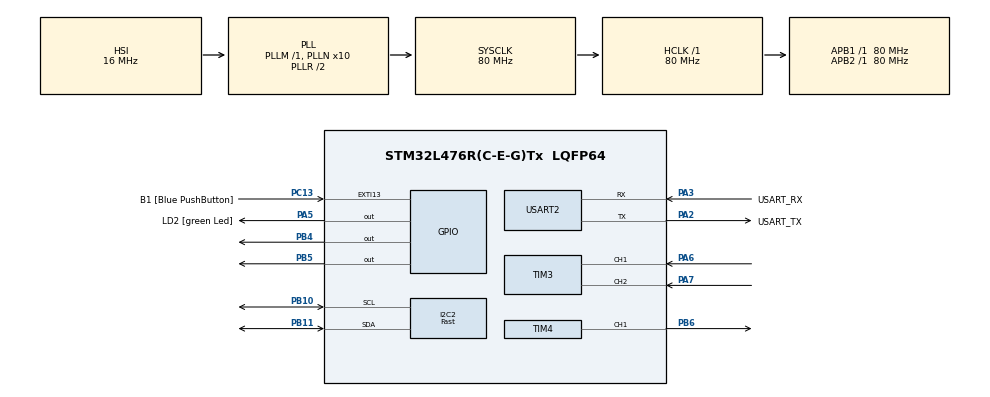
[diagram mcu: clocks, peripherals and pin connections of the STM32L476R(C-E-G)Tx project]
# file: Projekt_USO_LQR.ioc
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I2C2.I2C_Speed_Mode=I2C_Fast
I2C2.Timing=0x00F12981
Mcu.Family=STM32L4
Mcu.Name=STM32L476R(C-E-G)Tx
Mcu.Package=LQFP64
NVIC.PriorityGroup=NVIC_PRIORITYGROUP_4
NVIC.TIM2_IRQn=true\:0\:0\:false\:false\:true\:true\:true\:true
PA13\ (JTMS-SWDIO).GPIO_Label=TMS
PA13\ (JTMS-SWDIO).Mode=Serial_Wire
PA13\ (JTMS-SWDIO).Signal=SYS_JTMS-SWDIO
PA14\ (JTCK-SWCLK).GPIO_Label=TCK
PA14\ (JTCK-SWCLK).Mode=Serial_Wire
PA14\ (JTCK-SWCLK).Signal=SYS_JTCK-SWCLK
PA2.GPIO_Label=USART_TX
PA2.GPIO_Mode=GPIO_MODE_AF_PP
PA2.GPIO_PuPd=GPIO_NOPULL
PA2.GPIO_Speed=GPIO_SPEED_FREQ_VERY_HIGH
PA2.Mode=Asynchronous
PA2.Signal=USART2_TX
PA3.GPIO_Label=USART_RX
PA3.GPIO_Mode=GPIO_MODE_AF_PP
PA3.GPIO_PuPd=GPIO_NOPULL
PA3.GPIO_Speed=GPIO_SPEED_FREQ_VERY_HIGH
PA3.Mode=Asynchronous
PA3.Signal=USART2_RX
PA5.GPIO_Label=LD2 [green Led]
PA5.GPIO_ModeDefaultOutputPP=GPIO_MODE_OUTPUT_PP
PA5.GPIO_PuPd=GPIO_NOPULL
PA5.GPIO_Speed=GPIO_SPEED_FREQ_LOW
PA5.Signal=GPIO_Output
PA6.Signal=S_TIM3_CH1
PA7.Signal=S_TIM3_CH2
PB10.Mode=I2C
PB10.Signal=I2C2_SCL
PB11.Mode=I2C
PB11.Signal=I2C2_SDA
PB3\ (JTDO-TRACESWO).GPIO_Label=SWO
PB3\ (JTDO-TRACESWO).Signal=SYS_JTDO-SWO
PB4\ (NJTRST).Signal=GPIO_Output
PB5.Signal=GPIO_Output
PB6.Signal=S_TIM4_CH1
PC13.GPIO_Label=B1 [Blue PushButton]
PC13.GPIO_ModeDefaultEXTI=GPIO_MODE_IT_FALLING
PC13.GPIO_PuPd=GPIO_NOPULL
PC13.Signal=GPXTI13
PC14-OSC32_IN\ (PC14).Mode=LSE-External-Oscillator
PC14-OSC32_IN\ (PC14).Signal=RCC_OSC32_IN
PC15-OSC32_OUT\ (PC15).Mode=LSE-External-Oscillator
PC15-OSC32_OUT\ (PC15).Signal=RCC_OSC32_OUT
PH0-OSC_IN\ (PH0).Signal=RCC_OSC_IN
PH1-OSC_OUT\ (PH1).Signal=RCC_OSC_OUT
ProjectManager.HeapSize=0x200
ProjectManager.StackSize=0x400
ProjectManager.TargetToolchain=STM32CubeIDE
RCC.ADCFreq_Value=64000000
RCC.AHBFreq_Value=80000000
RCC.APB1Freq_Value=80000000
RCC.APB1TimFreq_Value=80000000
RCC.APB2Freq_Value=80000000
RCC.APB2TimFreq_Value=80000000
RCC.CortexFreq_Value=80000000
RCC.HCLKFreq_Value=80000000
RCC.HSE_VALUE=8000000
RCC.HSI_VALUE=16000000
RCC.MSI_VALUE=4000000
RCC.PLLN=10
RCC.PLLSourceVirtual=RCC_PLLSOURCE_HSI
RCC.PREFETCH_ENABLE=1
RCC.SYSCLKFreq_VALUE=80000000
RCC.SYSCLKSource=RCC_SYSCLKSOURCE_PLLCLK
RCC.USBFreq_Value=64000000
RCC.VCOOutputFreq_Value=160000000
SH.S_TIM3_CH1.0=TIM3_CH1,Encoder_Interface
SH.S_TIM3_CH2.0=TIM3_CH2,Encoder_Interface
SH.S_TIM4_CH1.0=TIM4_CH1,PWM Generation1 CH1
TIM2.Period=999
TIM2.Prescaler=79
TIM3.IC2Filter=10
TIM4.AutoReloadPreload=TIM_AUTORELOAD_PRELOAD_ENABLE
TIM4.Channel-PWM\ Generation1\ CH1=TIM_CHANNEL_1
TIM4.Period=3999
TIM4.Prescaler=0
USART2.VirtualMode-Asynchronous=VM_ASYNC
VP_TIM2_VS_ClockSourceINT.Mode=Internal
VP_TIM4_VS_ClockSourceINT.Mode=Internal
board=NUCLEO-L476RG

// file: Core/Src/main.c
/* USER CODE BEGIN Header */
/**
  ******************************************************************************
  * @file           : main.c
  * @brief          : Main program body
  ******************************************************************************
  * @attention
  *
  * Copyright (c) 2026 STMicroelectronics.
  * All rights reserved.
  *
  * This software is licensed under terms that can be found in the LICENSE file
  * in the root directory of this software component.
  * If no LICENSE file comes with this software, it is provided AS-IS.
  *
  ******************************************************************************
  */
/* USER CODE END Header */
#include "main.h"
#include "i2c.h"
#include "tim.h"
#include "usart.h"
#include "gpio.h"

/* USER CODE BEGIN Includes */
#include <stdio.h>
#include <math.h>
#include <string.h> // Potrzebne do memcpy

/* USER CODE END Includes */

/* USER CODE BEGIN PV */
#define INA237_REG_CONFIG         0x00
#define INA237_REG_ADC_CONFIG     0x01
#define INA237_REG_SHUNT_CAL      0x02
#define INA237_REG_VSHUNT         0x04
#define INA237_REG_VBUS           0x05
#define INA237_REG_DIETEMP        0x06
#define INA237_REG_CURRENT        0x07
#define INA237_REG_POWER          0x08
#define INA237_REG_MANUFACTURER   0x3E

#define SHUNT_RESISTOR_OHM        0.015f
#define INA237_CURRENT_LSB        0.000080f
#define INA237_VOLTAGE_LSB        0.003125f

#define INA237_CAL_VALUE          0x03D7
#define INA237_ADC_CONFIG_VAL   0xB901
#define INA237_CONFIG_HIGH_PRECISION 0x0010

#define INA237_ADDR (0x40 << 1)
#define BUFFER_SIZE 4000
#define SAMPLING_FREQ 1000.0f

volatile float dbg_current_A = 0.0f;
volatile float dbg_position = 0.0;
volatile float dbg_velocity = 0.0;
volatile float dbg_torque = 0.0f;
volatile float dbg_u = 0.0f;
volatile float dbg_velocity_encoder = 0.0f;

float prev_pos = 0.0f;

volatile uint16_t prev_encoder_cnt = 0;

#define INA237_VSHUNT_LSB_V     0.0000025f

float R[2] = {
	3e-6f,
	 0.05f
};

float Q_diagonal[3] = {
    1e-6f,   // pozycja
    2e-2f,   // prędkość
    2e-2f    // prąd
};

float CPR = 3840.0f;
volatile float current_A = 0.0f;
#define INA237_CURRENT_LSB  0.000080f
#define INA237_ADDR         (0x40 << 1)
#define INA237_REG_CURRENT  0x07
volatile uint8_t timer_flag = 0; // Flaga do synchronizacji pętli main
volatile float current_live_A = 0.0f;
volatile float position_rad = 0.0f;
volatile float dbg_position_Kalman = 0.0f;
volatile float dbg_current_A_Kalman = 0.0f;
float pos = 0.0f;

float u = 0.0f;

float A[3][3] = {
    {1.00000000f, 0.00099769f, 0.00001130f},
    {0.00000000f, 0.99515247f, 0.02090289f},
    {0.00000000f, -0.05170580f, 0.61609530f},
};

// Macierz B_discrete [3x1]
float B[3][1] = {
    {0.00000065f},
    {0.00188346f},
    {0.13212621f},
};

#define CONTROL_PROFILE_COMFORT  0
#define CONTROL_PROFILE_SPORT    1

#define CONTROL_PROFILE CONTROL_PROFILE_SPORT

#if CONTROL_PROFILE == CONTROL_PROFILE_COMFORT

float F[3] = {4.87455066f, 0.48550506f, 4.66944218f};
float N_bar = 4.87455066f;

#elif CONTROL_PROFILE == CONTROL_PROFILE_SPORT

float F[3] = {194.89216201f, 0.18402404f, 1.21252480f};
float N_bar = 194.89216201f;

#else
#error "Nieznany CONTROL_PROFILE"
#endif

volatile float dbg_current = 0.0f;

/* USER CODE END PV */

void SystemClock_Config(void);

/* USER CODE BEGIN 0 */

int _write(int file, char *ptr, int len) {
  HAL_UART_Transmit(&huart2, (uint8_t*)ptr, len, HAL_MAX_DELAY);
  return len;
}

float Read_Current_INA237(void) {
    uint8_t i2c_buff[2];
    int16_t raw_vshunt;
    float voltage_v;

    if (HAL_I2C_Mem_Read(&hi2c2, INA237_ADDR, INA237_REG_VSHUNT, I2C_MEMADD_SIZE_8BIT, i2c_buff, 2, 10) == HAL_OK) {
        raw_vshunt = (int16_t)((i2c_buff[0] << 8) | i2c_buff[1]);
        voltage_v = (float)raw_vshunt * INA237_VSHUNT_LSB_V;
        current_A = voltage_v / SHUNT_RESISTOR_OHM;
    }
    else {
        printf("I2C ERROR\r\n");
    }
    return current_A;
}

float Read_Position(void)
{
    static int32_t total_ticks = 0;
    static uint16_t prev_counter = 0;

    if (prev_counter == 0) prev_counter = __HAL_TIM_GET_COUNTER(&htim3);

    uint16_t current_counter = __HAL_TIM_GET_COUNTER(&htim3);

    int16_t delta = (int16_t)(current_counter - prev_counter);

    total_ticks += delta;
    prev_counter = current_counter;
    return ((float)total_ticks / CPR) * 6.2831853f;
}

float *KalmanFilter_Update(float A[3][3],
                           float B[3],
                           const float R[2],
                           float Q[3],       // Q jest wektorem diagonalnym
                           float i_meas,
                           float theta_meas)
{
    // Zmienne stanu i kowariancji (zachowane między wywołaniami)
    static float x[3] = {0.0f, 0.0f, 0.0f};
    static float P[3][3] = {
        {0.01f, 0.0f,  0.0f},
        {0.0f,  1.0f,  0.0f},
        {0.0f,  0.0f,  0.1f}
    };

    // Zmienne pomocnicze
    float x_pred[3];
    float P_pred[3][3];
    extern float u; // Napięcie sterujące

    float effective_u = u;

    if (fabsf(u) < 0.15f) {
        effective_u = 0.0f;
    }

    /* =====================================================
     * 1. PREDYKCJA STANU
     * x_pred = A * x + B * u
     * ===================================================== */
    for (int i = 0; i < 3; i++) {
        x_pred[i] = B[i] * effective_u;
        for (int j = 0; j < 3; j++) {
            x_pred[i] += A[i][j] * x[j];
        }
    }

    if (x_pred[1]> 3.80){
    	x_pred[1] = 3.80;
    }

    else if (x_pred[1] < -4.09)
    	x_pred[1] = -4.09;

    /* =====================================================
     * 2. PREDYKCJA KOWARIANCJI
     * P_pred = A * P * A^T + Q
     * ===================================================== */
    // Krok 2a: tmp = A * P
    float tmp[3][3] = {0};
    for (int i = 0; i < 3; i++) {
        for (int j = 0; j < 3; j++) {
            for (int k = 0; k < 3; k++) {
                tmp[i][j] += A[i][k] * P[k][j];
            }
        }
    }

    // Krok 2b: P_pred = tmp * A^T + Q
    for (int i = 0; i < 3; i++) {
        for (int j = 0; j < 3; j++) {
            P_pred[i][j] = 0.0f;
            for (int k = 0; k < 3; k++) {
                // A^T[k][j] to to samo co A[j][k]
                P_pred[i][j] += tmp[i][k] * A[j][k];
            }
        }
        // Dodanie szumu procesu Q (tylko na przekątnej)
        P_pred[i][i] += Q[i];
    }

    /* =====================================================
     * 3. INNOWACJA (RESIDUALS)
     * y = z - H * x_pred
     * H = [[1, 0, 0], [0, 0, 1]] (Pomiar: Pozycja, Prąd)
     * ===================================================== */
    float y[2];
    y[0] = theta_meas - x_pred[0]; // Pozycja (indeks 0)
    y[1] = i_meas     - x_pred[2]; // Prąd (indeks 2)

    /* =====================================================
     * 4. MACIERZ INNOWACJI S (2x2)
     * S = H * P_pred * H^T + R
     * ===================================================== */
    float S[2][2];
    // Wyciągamy odpowiednie elementy z P_pred zgodnie z macierzą H
    S[0][0] = P_pred[0][0] + R[0];
    S[0][1] = P_pred[0][2];
    S[1][0] = P_pred[2][0];
    S[1][1] = P_pred[2][2] + R[1];

    /* =====================================================
     * 5. INWERSJA MACIERZY S (S^-1)
     * ===================================================== */
    float det = S[0][0] * S[1][1] - S[0][1] * S[1][0];
    float invS[2][2];

    // Zabezpieczenie przed dzieleniem przez zero
    if (fabsf(det) < 1e-9f) det = 1e-9f;
    float invDet = 1.0f / det;

    invS[0][0] =  S[1][1] * invDet;
    invS[0][1] = -S[0][1] * invDet;
    invS[1][0] = -S[1][0] * invDet;
    invS[1][1] =  S[0][0] * invDet;

    /* =====================================================
     * 6. WZMOCNIENIE KALMANA K (3x2)
     * K = P_pred * H^T * S^-1
     * ===================================================== */
    // P_pred * H^T to po prostu kolumny 0 i 2 z macierzy P_pred
    float PHt[3][2];
    for(int i=0; i<3; i++) {
        PHt[i][0] = P_pred[i][0];
        PHt[i][1] = P_pred[i][2];
    }

    float K[3][2];
    for(int i=0; i<3; i++) {
        K[i][0] = PHt[i][0]*invS[0][0] + PHt[i][1]*invS[1][0];
        K[i][1] = PHt[i][0]*invS[0][1] + PHt[i][1]*invS[1][1];
    }

    /* =====================================================
     * 7. KOREKCJA STANU
     * x = x_pred + K * y
     * ===================================================== */
    for (int i = 0; i < 3; i++) {
        x[i] = x_pred[i] + K[i][0] * y[0] + K[i][1] * y[1];
    }

    /* =====================================================
     * 8. KOREKCJA KOWARIANCJI
     * P = P_pred - K * S * K^T
     * (Jest to stabilniejsza numerycznie forma niż (I-KH)P)
     * ===================================================== */
    // Najpierw: KS = K * S
    float KS[3][2];
    for(int i=0; i<3; i++) {
        KS[i][0] = K[i][0]*S[0][0] + K[i][1]*S[1][0];
        KS[i][1] = K[i][0]*S[0][1] + K[i][1]*S[1][1];
    }

    // Teraz: P = P_pred - KS * K^T
    for(int i=0; i<3; i++) {
        for(int j=0; j<3; j++) {
            // K^T[k][j] to K[j][k]
            float val = KS[i][0]*K[j][0] + KS[i][1]*K[j][1];
            P[i][j] = P_pred[i][j] - val;
        }
    }

    return x;
}

float Read_SetPoint(void)
{
    return 3.14f / 2.0f;
}

float IIR_Filter(float x)
{
    const float b0 = 0.02008337f;
    const float b1 = 0.04016673f;
    const float b2 = 0.02008337f;
    const float a1 = -1.56101808f;
    const float a2 =  0.64135154f;

    static float x1 = 0.0f, x2 = 0.0f;
    static float y1 = 0.0f, y2 = 0.0f;

    float y = b0*x + b1*x1 + b2*x2
            - a1*y1 - a2*y2;

    x2 = x1;  x1 = x;
    y2 = y1;  y1 = y;

    return y;
}

void HAL_TIM_PeriodElapsedCallback(TIM_HandleTypeDef *htim)
{
    if (htim->Instance == TIM2) {
        timer_flag = 1;
    }
}

void print_float(char* label, float val, char* unit) {
    int i_part = (int)val;
    int f_part = (int)((fabs(val) - abs(i_part)) * 10000);
    printf("%s %d.%04d %s\r\n", label, i_part, f_part, unit);
}
/* USER CODE END 0 */

int main(void)
{

  /* MCU Configuration--------------------------------------------------------*/

  /* Reset of all peripherals, Initializes the Flash interface and the Systick. */
  HAL_Init();

  /* Configure the system clock */
  SystemClock_Config();

  /* Initialize all configured peripherals */
  MX_GPIO_Init();
  MX_USART2_UART_Init();
  MX_I2C2_Init();
  MX_TIM3_Init();
  MX_TIM4_Init();
  MX_TIM2_Init();
  /* USER CODE BEGIN 2 */

  HAL_Delay(100);
    printf("\r\n=== SYSTEM START ===\r\n");

    uint8_t i2c_data[2];

    uint16_t cfg_reg = INA237_CONFIG_HIGH_PRECISION;
    i2c_data[0] = (cfg_reg >> 8) & 0xFF;
    i2c_data[1] = cfg_reg & 0xFF;
    HAL_I2C_Mem_Write(&hi2c2, INA237_ADDR, INA237_REG_CONFIG, I2C_MEMADD_SIZE_8BIT, i2c_data, 2, 100);

    uint16_t cal = INA237_CAL_VALUE;
    i2c_data[0] = (cal >> 8) & 0xFF;
    i2c_data[1] = cal & 0xFF;
    HAL_I2C_Mem_Write(&hi2c2, INA237_ADDR, INA237_REG_SHUNT_CAL, I2C_MEMADD_SIZE_8BIT, i2c_data, 2, 100);

    uint16_t adc_cfg = INA237_ADC_CONFIG_VAL;
    i2c_data[0] = (adc_cfg >> 8) & 0xFF;
    i2c_data[1] = adc_cfg & 0xFF;
    HAL_I2C_Mem_Write(&hi2c2, INA237_ADDR, INA237_REG_ADC_CONFIG, I2C_MEMADD_SIZE_8BIT, i2c_data, 2, 100);

    HAL_TIM_PWM_Start(&htim4, TIM_CHANNEL_1);
    HAL_TIM_Base_Start_IT(&htim2);
    HAL_TIM_Encoder_Start(&htim3, TIM_CHANNEL_ALL);

  /* USER CODE END 2 */

  /* Infinite loop */
  /* USER CODE BEGIN WHILE */
  while (1)
  {
	  if (timer_flag) {
	          timer_flag = 0;

	          float i_meas = Read_Current_INA237();
	          float theta_meas = Read_Position();

	          float *x = KalmanFilter_Update(A, B, R, Q_diagonal, i_meas, theta_meas);

	          dbg_position_Kalman = x[0];
	          dbg_velocity = x[1];
	          dbg_current_A_Kalman = x[2];

	          dbg_position = theta_meas ;
	          dbg_current = i_meas ;

	          pos = (dbg_position - prev_pos)/0.001;
	          dbg_velocity_encoder = IIR_Filter(pos);
	          prev_pos = dbg_position ;

	          float xd = 6.28f;

	          if (fabsf(xd - x[0]) < 0.01f && fabsf(x[1]) < 0.1f) {
	              u = 0.0f;
	          }
			  else{

				  u = -(F[0] * x[0] + F[1] * x[1] + F[2] * x[2]) + (xd * N_bar);

	              }

	          if (u > 3.3f) u = 3.3f;
	          if (u < -3.3f) u = -3.3f;

	          if (u > 0.0f) {
	              HAL_GPIO_WritePin(GPIOB, GPIO_PIN_4, GPIO_PIN_RESET);
	              HAL_GPIO_WritePin(GPIOB, GPIO_PIN_5, GPIO_PIN_SET);
	          } else {
	              HAL_GPIO_WritePin(GPIOB, GPIO_PIN_4, GPIO_PIN_SET);
	              HAL_GPIO_WritePin(GPIOB, GPIO_PIN_5, GPIO_PIN_RESET);
	              u = -u;
	          }
	          dbg_u = u;
	          uint32_t max_pwm = __HAL_TIM_GET_AUTORELOAD(&htim4);
	          uint32_t u_pwm = (uint32_t)((u / 3.3f) * max_pwm);
	          __HAL_TIM_SET_COMPARE(&htim4, TIM_CHANNEL_1, u_pwm);
	      }

    /* USER CODE END WHILE */

  }
}

void SystemClock_Config(void)
{
  RCC_OscInitTypeDef RCC_OscInitStruct = {0};
  RCC_ClkInitTypeDef RCC_ClkInitStruct = {0};

  /** Configure the main internal regulator output voltage
  */
  if (HAL_PWREx_ControlVoltageScaling(PWR_REGULATOR_VOLTAGE_SCALE1) != HAL_OK)
  {
    Error_Handler();
  }

  /** Initializes the RCC Oscillators according to the specified parameters
  * in the RCC_OscInitTypeDef structure.
  */
  RCC_OscInitStruct.OscillatorType = RCC_OSCILLATORTYPE_HSI;
  RCC_OscInitStruct.HSIState = RCC_HSI_ON;
  RCC_OscInitStruct.HSICalibrationValue = RCC_HSICALIBRATION_DEFAULT;
  RCC_OscInitStruct.PLL.PLLState = RCC_PLL_ON;
  RCC_OscInitStruct.PLL.PLLSource = RCC_PLLSOURCE_HSI;
  RCC_OscInitStruct.PLL.PLLM = 1;
  RCC_OscInitStruct.PLL.PLLN = 10;
  RCC_OscInitStruct.PLL.PLLP = RCC_PLLP_DIV7;
  RCC_OscInitStruct.PLL.PLLQ = RCC_PLLQ_DIV2;
  RCC_OscInitStruct.PLL.PLLR = RCC_PLLR_DIV2;
  if (HAL_RCC_OscConfig(&RCC_OscInitStruct) != HAL_OK)
  {
    Error_Handler();
  }

  /** Initializes the CPU, AHB and APB buses clocks
  */
  RCC_ClkInitStruct.ClockType = RCC_CLOCKTYPE_HCLK|RCC_CLOCKTYPE_SYSCLK
                              |RCC_CLOCKTYPE_PCLK1|RCC_CLOCKTYPE_PCLK2;
  RCC_ClkInitStruct.SYSCLKSource = RCC_SYSCLKSOURCE_PLLCLK;
  RCC_ClkInitStruct.AHBCLKDivider = RCC_SYSCLK_DIV1;
  RCC_ClkInitStruct.APB1CLKDivider = RCC_HCLK_DIV1;
  RCC_ClkInitStruct.APB2CLKDivider = RCC_HCLK_DIV1;

  if (HAL_RCC_ClockConfig(&RCC_ClkInitStruct, FLASH_LATENCY_4) != HAL_OK)
  {
    Error_Handler();
  }
}

void Error_Handler(void)
{
  __disable_irq();
  while (1)
  {
  }
}
